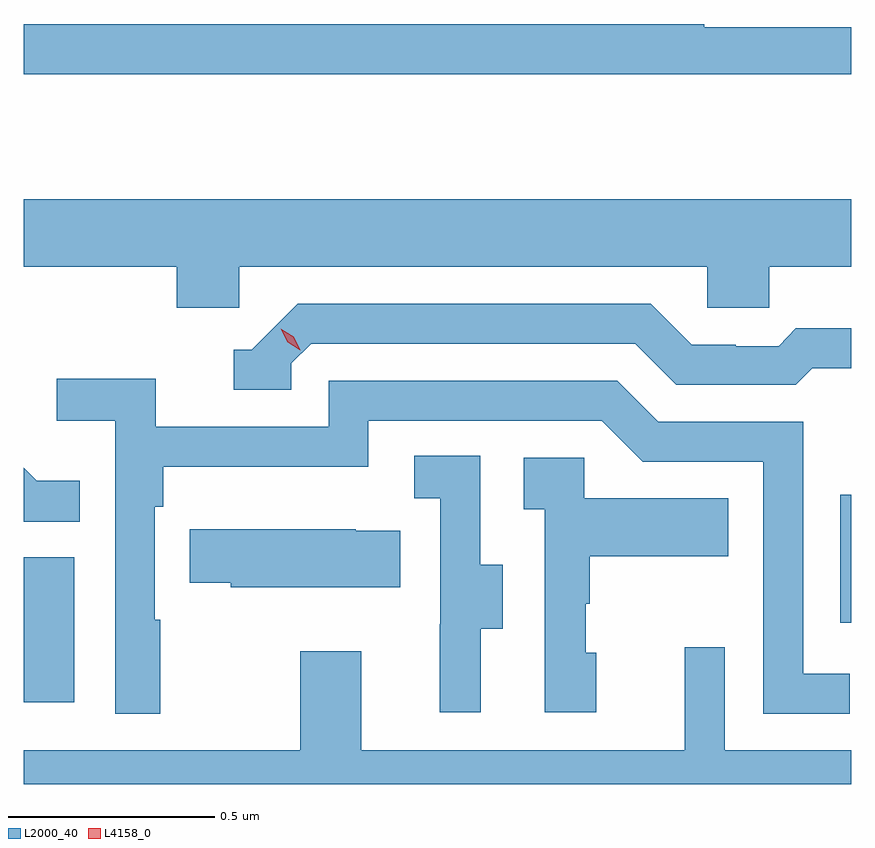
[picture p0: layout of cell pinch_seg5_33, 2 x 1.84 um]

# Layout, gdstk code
import gdstk
lib = gdstk.Library(unit=1e-6, precision=1e-09)
def R(c, l, rs):  # rectangles x0, y0, x1, y1
    for r in rs: c.add(gdstk.rectangle(r[:2], r[2:], *l))
def P(c, l, *ps):  # polygons
    for p in ps: c.add(gdstk.Polygon(p, *l))
L2000_40 = (2000, 40)
L4158_0 = (4158, 0)

pinch_seg5_33 = lib.new_cell('pinch_seg5_33')
R(pinch_seg5_33, L2000_40, [(1105.771,899.664,1105.894,900.015), (1107.744,899.856,1107.771,900.166)])
P(pinch_seg5_33, L2000_40, [(1107.771,901.295),(1107.416,901.295),(1107.416,901.303),(1105.771,901.303),(1105.771,901.182),(1107.771,901.182)],
  [(1106.292,900.716),(1107.423,900.716),(1107.423,900.618),(1107.573,900.618),(1107.573,900.716),(1107.771,900.716),(1107.771,900.88),(1105.771,900.88),(1105.771,900.716),(1106.141,900.716),(1106.141,900.618),(1106.292,900.618)],
  [(1106.418,900.483),(1106.466,900.531),(1107.249,900.531),(1107.348,900.432),(1107.637,900.432),(1107.676,900.471),(1107.771,900.471),(1107.771,900.568),(1107.637,900.568),(1107.595,900.525),(1107.492,900.525),(1107.492,900.528),(1107.385,900.528),(1107.286,900.627),(1106.433,900.627),(1106.322,900.516),(1106.279,900.516),(1106.279,900.42),(1106.418,900.42)],
  [(1106.101,899.864),(1106.088,899.864),(1106.088,900.137),(1106.108,900.137),(1106.108,900.233),(1106.604,900.233),(1106.604,900.345),(1107.168,900.345),(1107.267,900.246),(1107.558,900.246),(1107.558,899.637),(1107.767,899.637),(1107.767,899.733),(1107.654,899.733),(1107.654,900.342),(1107.304,900.342),(1107.205,900.441),(1106.508,900.441),(1106.508,900.33),(1106.09,900.33),(1106.09,900.446),(1105.851,900.446),(1105.851,900.344),(1105.992,900.344),(1105.992,899.637),(1106.101,899.637)],
  [(1106.875,899.842),(1106.929,899.842),(1106.929,899.997),(1106.874,899.997),(1106.874,900.26),(1106.715,900.26),(1106.715,900.157),(1106.778,900.157),(1106.778,899.853),(1106.777,899.853),(1106.777,899.64),(1106.875,899.64)],
  [(1107.154,899.784),(1107.129,899.784),(1107.129,899.903),(1107.139,899.903),(1107.139,900.017),(1107.473,900.017),(1107.473,900.157),(1107.126,900.157),(1107.126,900.255),(1106.979,900.255),(1106.979,900.131),(1107.03,900.131),(1107.03,899.64),(1107.154,899.64)],
  [(1105.907,900.199),(1105.803,900.199),(1105.771,900.231),(1105.771,900.1),(1105.907,900.1)],
  [(1106.681,900.079),(1106.573,900.079),(1106.573,900.082),(1106.173,900.082),(1106.173,899.953),(1106.271,899.953),(1106.271,899.942),(1106.681,899.942)],
  [(1107.368,899.797),(1107.368,899.548),(1106.587,899.548),(1106.587,899.788),(1106.44,899.788),(1106.44,899.548),(1105.771,899.548),(1105.771,899.467),(1107.771,899.467),(1107.771,899.548),(1107.465,899.548),(1107.465,899.797)])
P(pinch_seg5_33, L4158_0, [(1106.44,900.515),(1106.409,900.534),(1106.392,900.567),(1106.392,900.567),(1106.392,900.567),(1106.424,900.548),(1106.44,900.515),(1106.44,900.515)])

lib.write_gds('pinch_seg5_33.gds')
